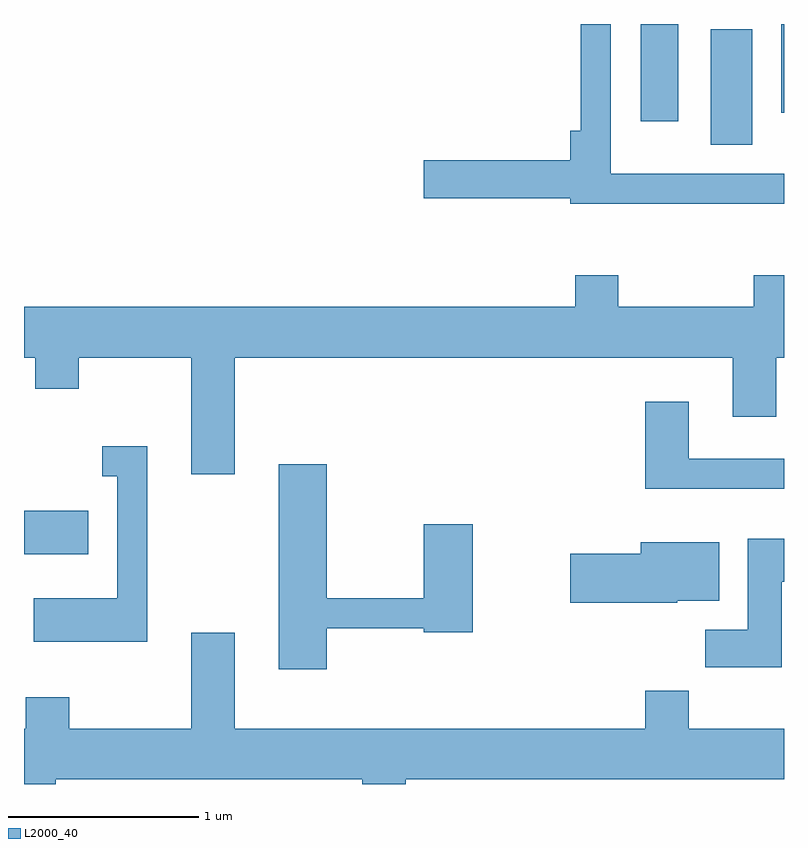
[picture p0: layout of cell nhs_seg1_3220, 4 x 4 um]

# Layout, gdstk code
import gdstk
lib = gdstk.Library(unit=1e-6, precision=1e-09)
def R(c, l, rs):  # rectangles x0, y0, x1, y1
    for r in rs: c.add(gdstk.rectangle(r[:2], r[2:], *l))
def P(c, l, *ps):  # polygons
    for p in ps: c.add(gdstk.Polygon(p, *l))
L2000_40 = (2000, 40)

nhs_seg1_3220 = lib.new_cell('nhs_seg1_3220')
R(nhs_seg1_3220, L2000_40, [(281.611,962.921,281.949,963.149), (285.226,965.076,285.444,965.684), (284.856,965.201,285.054,965.712), (285.596,965.246,285.611,965.712)])
P(nhs_seg1_3220, L2000_40, [(285.611,964.924),(284.699,964.924),(284.699,965.712),(284.541,965.712),(284.541,965.149),(284.486,965.149),(284.486,964.994),(283.716,964.994),(283.716,964.796),(284.486,964.796),(284.486,964.766),(285.611,964.766)],
  [(282.719,963.956),(285.341,963.956),(285.341,963.646),(285.569,963.646),(285.569,963.956),(285.611,963.956),(285.611,964.389),(285.451,964.389),(285.451,964.224),(284.739,964.224),(284.739,964.389),(284.511,964.389),(284.511,964.224),(281.611,964.224),(281.611,963.956),(281.671,963.956),(281.671,963.791),(281.899,963.791),(281.899,963.956),(282.491,963.956),(282.491,963.341),(282.719,963.341)],
  [(285.611,963.424),(285.109,963.424),(285.109,963.724),(284.881,963.724),(284.881,963.266),(285.611,963.266)],
  [(282.259,963.489),(282.023,963.489),(282.023,963.331),(282.101,963.331),(282.101,962.689),(281.661,962.689),(281.661,962.461),(282.259,962.461)],
  [(283.204,962.531),(283.716,962.531),(283.716,962.511),(283.974,962.511),(283.974,963.079),(283.716,963.079),(283.716,962.689),(283.204,962.689),(283.204,963.394),(282.951,963.394),(282.951,962.316),(283.204,962.316)],
  [(285.599,962.776),(285.611,962.776),(285.611,963.004),(285.421,963.004),(285.421,962.524),(285.196,962.524),(285.196,962.326),(285.599,962.326)],
  [(285.05,962.676),(285.269,962.676),(285.269,962.984),(284.856,962.984),(284.856,962.924),(284.486,962.924),(284.486,962.666),(285.05,962.666)],
  [(281.779,961.736),(283.391,961.736),(283.391,961.712),(283.619,961.712),(283.619,961.736),(285.611,961.736),(285.611,962.004),(285.109,962.004),(285.109,962.204),(284.881,962.204),(284.881,962.004),(282.719,962.004),(282.719,962.509),(282.491,962.509),(282.491,962.004),(281.849,962.004),(281.849,962.169),(281.621,962.169),(281.621,962.004),(281.611,962.004),(281.611,961.712),(281.779,961.712)])

lib.write_gds('nhs_seg1_3220.gds')
